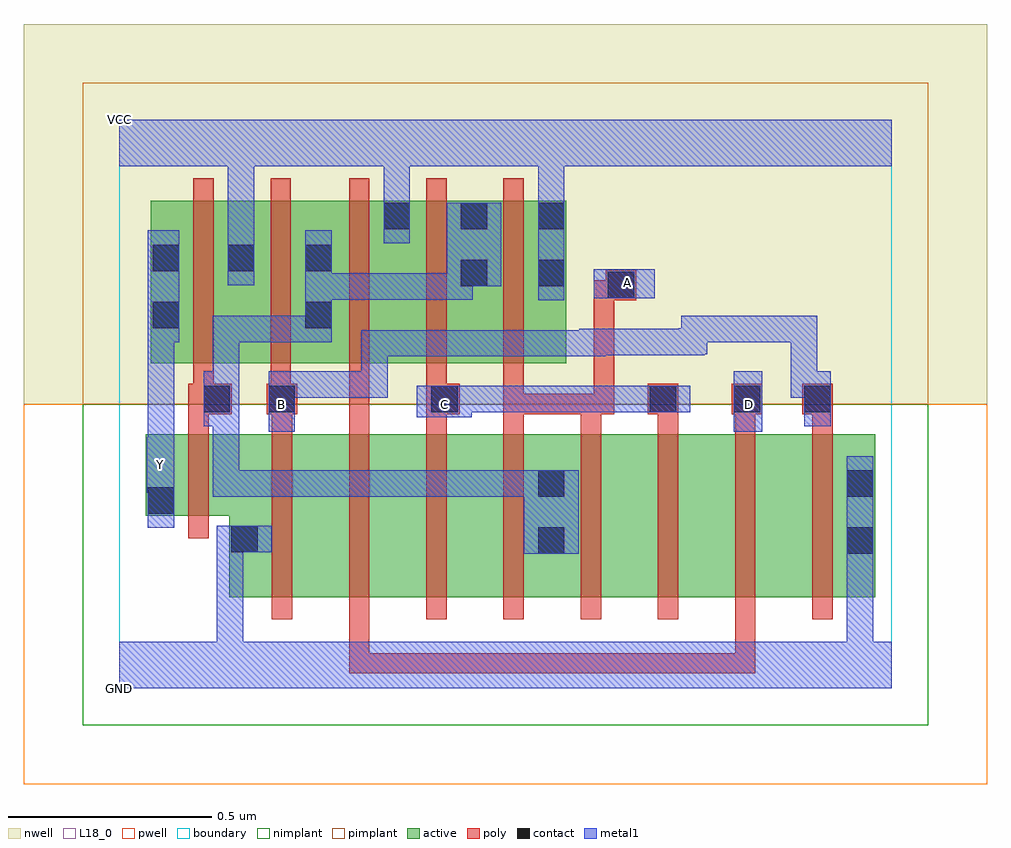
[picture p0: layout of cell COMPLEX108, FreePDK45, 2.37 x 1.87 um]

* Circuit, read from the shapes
.subckt COMPLEX108 A B C D GND VCC Y
M1 GND n1 Y VSUBS nfet w=0.2u l=0.05u
M2 n2 B GND VSUBS nfet w=0.4u l=0.05u
M3 n3 D n2 VSUBS nfet w=0.4u l=0.05u
M4 n4 C n3 VSUBS nfet w=0.4u l=0.05u
M5 n1 A n4 VSUBS nfet w=0.4u l=0.05u
M6 n5 A n1 VSUBS nfet w=0.4u l=0.05u
M7 n6 C n5 VSUBS nfet w=0.4u l=0.05u
M8 n7 D n6 VSUBS nfet w=0.4u l=0.05u
M9 GND B n7 VSUBS nfet w=0.4u l=0.05u
M10 VCC n1 Y n8 pfet w=0.4u l=0.05u
M11 n1 B VCC n8 pfet w=0.4u l=0.05u
M12 VCC D n1 n8 pfet w=0.4u l=0.05u
M13 n1 C VCC n8 pfet w=0.4u l=0.05u
M14 VCC A n1 n8 pfet w=0.4u l=0.05u
.ends

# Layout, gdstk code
import gdstk
lib = gdstk.Library(unit=1e-6, precision=1e-09)
def R(c, l, rs):  # rectangles x0, y0, x1, y1
    for r in rs: c.add(gdstk.rectangle(r[:2], r[2:], *l))
def A(c, l, x, y, w, h, nx, ny, dx, dy):  # array of equal rectangles
    R(c, l, [(x+i*dx, y+j*dy, x+i*dx+w, y+j*dy+h) for i in range(nx) for j in range(ny)])
active = (1, 0)
pwell = (2, 0)
nwell = (3, 0)
nimplant = (4, 0)
pimplant = (5, 0)
poly = (9, 0)
contact = (10, 0)
metal1 = (11, 0)
L18_0 = (18, 0)
boundary = (235, 0)

complex108 = lib.new_cell('COMPLEX108')
R(complex108, active, [(0.27,0.225,0.495,0.625), (0.27,0.225,0.345,0.597), (0.495,0.225,0.685,0.625), (0.685,0.225,0.875,0.625), (0.875,0.225,1.1,0.625), (1.025,0.225,1.255,0.625), (1.255,0.225,1.445,0.625), (1.445,0.225,1.635,0.625), (1.635,0.225,1.86,0.625), (1.025,0.245,1.1,0.617), (1.785,0.245,1.86,0.625), (0.065,0.425,0.345,0.625), (0.065,0.425,0.14,0.625), (0.077,0.8,0.152,1.155), (0.077,0.8,0.337,1.2), (0.262,0.8,0.527,1.2), (0.452,0.8,0.72,1.2), (0.452,0.8,0.527,1.155), (0.645,0.8,0.91,1.2), (0.835,0.8,1.1,1.2), (1.025,0.8,1.1,1.2), (0.262,0.802,0.337,1.155), (0.645,0.907,0.72,1.2), (0.835,0.907,0.91,1.2)])
R(complex108, pwell, [(-0.235,-0.235,2.135,0.7)])
R(complex108, nwell, [(-0.235,0.7,2.135,1.635)])
R(complex108, nimplant, [(-0.09,-0.09,1.99,0.7)])
R(complex108, pimplant, [(-0.09,0.7,1.99,1.49)])
A(complex108, poly, 0.375, 0.17, 0.05, 0.51, 8, 1, 0.19, 0)
A(complex108, poly, 0.375, 0.63, 0.05, 0.095, 8, 1, 0.19, 0)
A(complex108, poly, 0.565, 0.745, 0.05, 0.51, 3, 1, 0.19, 0)
R(complex108, poly, [(0.565,0.037,0.615,0.22), (0.565,0.037,0.615,0.087), (0.565,0.037,0.615,0.087), (0.565,0.037,0.615,0.087), (0.565,0.037,0.862,0.087), (0.812,0.037,0.862,0.087), (0.812,0.037,0.862,0.087), (0.812,0.037,0.862,0.087), (0.812,0.037,1.052,0.087), (1.002,0.037,1.052,0.087), (1.002,0.037,1.052,0.087), (1.002,0.037,1.052,0.087), (1.002,0.037,1.217,0.087), (1.167,0.037,1.217,0.087), (1.167,0.037,1.217,0.087), (1.167,0.037,1.217,0.087), (1.167,0.037,1.405,0.087), (1.355,0.037,1.565,0.087), (1.355,0.037,1.405,0.087), (1.355,0.037,1.405,0.087), (1.355,0.037,1.405,0.087), (1.515,0.037,1.565,0.22), (1.515,0.037,1.565,0.087), (0.17,0.37,0.22,0.68), (0.17,0.63,0.22,0.725), (0.17,0.675,0.277,0.75), (0.362,0.675,0.437,0.75), (0.565,0.675,0.615,0.725), (0.565,0.675,0.615,0.795), (0.755,0.675,0.837,0.75), (0.945,0.675,0.995,0.725), (0.945,0.675,0.995,0.725), (0.945,0.675,0.995,0.725), (0.945,0.675,1.185,0.725), (0.945,0.675,0.995,0.795), (1.135,0.675,1.217,0.725), (1.167,0.675,1.217,1.005), (1.3,0.675,1.375,0.75), (1.507,0.675,1.582,0.75), (1.68,0.675,1.755,0.75), (0.182,0.7,0.232,0.795), (0.372,0.7,0.422,0.795), (0.755,0.7,0.805,0.795), (0.182,0.745,0.232,1.255), (0.372,0.745,0.422,1.255), (1.167,0.955,1.247,1.005), (1.197,0.955,1.272,1.03), (1.197,0.955,1.247,1.005)])
A(complex108, contact, 0.65, 1.13, 0.065, 0.065, 3, 1, 0.19, 0)
R(complex108, contact, [(1.03,0.332,1.095,0.397), (1.79,0.332,1.855,0.397), (0.275,0.335,0.34,0.4), (0.07,0.43,0.135,0.495), (1.03,0.472,1.095,0.537), (1.79,0.472,1.855,0.537), (0.207,0.68,0.272,0.745), (0.367,0.68,0.432,0.745), (0.767,0.68,0.832,0.745), (1.305,0.68,1.37,0.745), (1.512,0.68,1.577,0.745), (1.685,0.68,1.75,0.745), (0.082,0.887,0.147,0.952), (0.457,0.887,0.522,0.952), (1.202,0.96,1.267,1.025), (0.84,0.99,0.905,1.055), (1.03,0.99,1.095,1.055), (0.082,1.027,0.147,1.092), (0.267,1.027,0.332,1.092), (0.457,1.027,0.522,1.092)])
R(complex108, metal1, [(0,0,1.9,0.115), (0.24,0.05,0.305,0.115), (0.24,0.05,0.305,0.115), (0.24,0.05,0.305,0.4), (1.79,0.05,1.855,0.362), (1.79,0.05,1.855,0.115), (1.79,0.05,1.855,0.115), (1.79,0.297,1.855,0.572), (0.995,0.332,1.13,0.537), (0.24,0.335,0.375,0.4), (0.07,0.395,0.135,0.53), (0.07,0.465,0.135,0.547), (0.23,0.472,0.295,0.537), (0.23,0.472,0.432,0.537), (0.23,0.472,0.295,0.71), (0.367,0.472,0.432,0.537), (0.367,0.472,0.432,0.537), (0.367,0.472,0.432,0.537), (0.367,0.472,0.66,0.537), (0.595,0.472,0.66,0.537), (0.595,0.472,0.66,0.537), (0.595,0.472,0.66,0.537), (0.595,0.472,0.797,0.537), (0.732,0.472,0.797,0.537), (0.732,0.472,0.797,0.537), (0.732,0.472,0.797,0.537), (0.732,0.472,1.06,0.537), (0.995,0.472,1.06,0.537), (0.995,0.472,1.06,0.537), (0.067,0.482,0.135,0.617), (0.07,0.552,0.135,0.917), (0.367,0.632,0.432,0.78), (1.512,0.632,1.582,0.78), (0.207,0.645,0.272,0.78), (0.207,0.645,0.295,0.71), (0.23,0.645,0.295,0.71), (0.23,0.645,0.295,0.917), (1.685,0.645,1.75,0.78), (0.732,0.667,0.867,0.745), (0.802,0.68,0.867,0.745), (0.802,0.68,0.867,0.745), (0.802,0.68,1.06,0.745), (0.995,0.68,1.06,0.745), (0.995,0.68,1.06,0.745), (0.995,0.68,1.06,0.745), (0.995,0.68,1.197,0.745), (1.132,0.68,1.197,0.745), (1.132,0.68,1.197,0.745), (1.132,0.68,1.197,0.745), (1.132,0.68,1.335,0.745), (1.27,0.68,1.405,0.745), (0.367,0.715,0.432,0.78), (0.367,0.715,0.432,0.78), (0.367,0.715,0.66,0.78), (0.595,0.715,0.66,0.78), (0.595,0.715,0.66,0.78), (0.595,0.715,0.66,0.78), (0.595,0.715,0.66,0.882), (1.652,0.715,1.717,0.78), (1.652,0.715,1.75,0.78), (1.652,0.715,1.717,0.917), (0.595,0.817,0.66,0.882), (0.595,0.817,0.797,0.882), (0.732,0.817,0.797,0.882), (0.732,0.817,0.797,0.882), (0.732,0.817,0.797,0.882), (0.732,0.817,1.007,0.882), (0.942,0.817,1.007,0.882), (0.942,0.817,1.007,0.882), (0.942,0.817,1.007,0.882), (0.942,0.817,1.197,0.882), (1.132,0.817,1.197,0.885), (1.132,0.82,1.197,0.885), (1.132,0.82,1.197,0.885), (1.132,0.82,1.44,0.885), (1.375,0.82,1.44,0.887), (1.375,0.822,1.447,0.887), (1.382,0.822,1.447,0.917), (0.07,0.852,0.147,1.127), (0.23,0.852,0.295,0.917), (0.23,0.852,0.522,0.917), (0.457,0.852,0.522,1.127), (0.457,0.852,0.522,0.917), (0.457,0.852,0.522,0.917), (1.382,0.852,1.612,0.917), (1.547,0.852,1.612,0.917), (1.547,0.852,1.717,0.917), (1.652,0.852,1.717,0.917), (1.03,0.955,1.095,1.23), (0.457,0.957,0.522,1.022), (0.457,0.957,0.66,1.022), (0.457,0.957,0.522,1.127), (0.595,0.957,0.66,1.022), (0.595,0.957,0.66,1.022), (0.595,0.957,0.66,1.022), (0.595,0.957,0.87,1.022), (0.805,0.957,0.87,1.055), (1.167,0.96,1.317,1.032), (0.805,0.99,0.87,1.055), (0.805,0.99,0.94,1.195), (0.267,0.992,0.332,1.127), (0.267,1.062,0.332,1.35), (0.65,1.095,0.715,1.23), (0.65,1.165,0.715,1.35), (1.03,1.165,1.095,1.35), (0,1.285,1.9,1.4)])
R(complex108, L18_0, [(0,0,1.9,0.115), (0.24,0.05,0.305,0.115), (0.24,0.05,0.305,0.115), (0.24,0.05,0.305,0.4), (1.79,0.05,1.855,0.115), (1.79,0.05,1.855,0.115), (1.79,0.05,1.855,0.362), (1.79,0.297,1.855,0.572), (0.24,0.335,0.375,0.4), (0.07,0.395,0.135,0.53), (0.07,0.465,0.135,0.547), (0.067,0.482,0.135,0.617), (0.067,0.517,0.132,0.582), (0.07,0.552,0.135,0.917), (0.367,0.632,0.432,0.78), (1.512,0.632,1.582,0.78), (1.685,0.645,1.75,0.78), (0.367,0.667,0.432,0.732), (0.732,0.667,0.867,0.745), (0.767,0.667,0.832,0.732), (1.517,0.667,1.582,0.732), (0.802,0.68,0.867,0.745), (0.802,0.68,0.867,0.745), (0.802,0.68,1.06,0.745), (0.995,0.68,1.06,0.745), (0.995,0.68,1.06,0.745), (0.995,0.68,1.06,0.745), (0.995,0.68,1.197,0.745), (1.132,0.68,1.197,0.745), (1.132,0.68,1.197,0.745), (1.132,0.68,1.197,0.745), (1.132,0.68,1.335,0.745), (1.27,0.68,1.405,0.745), (0.367,0.715,0.432,0.78), (0.367,0.715,0.432,0.78), (0.367,0.715,0.66,0.78), (0.595,0.715,0.66,0.78), (0.595,0.715,0.66,0.78), (0.595,0.715,0.66,0.78), (0.595,0.715,0.66,0.882), (1.652,0.715,1.717,0.78), (1.652,0.715,1.717,0.917), (1.652,0.715,1.75,0.78), (0.595,0.817,0.66,0.882), (0.595,0.817,0.797,0.882), (0.732,0.817,0.797,0.882), (0.732,0.817,0.797,0.882), (0.732,0.817,0.797,0.882), (0.732,0.817,1.007,0.882), (0.942,0.817,1.007,0.882), (0.942,0.817,1.007,0.882), (0.942,0.817,1.007,0.882), (0.942,0.817,1.197,0.882), (1.132,0.817,1.197,0.885), (1.132,0.82,1.197,0.885), (1.132,0.82,1.197,0.885), (1.132,0.82,1.44,0.885), (1.375,0.82,1.44,0.887), (1.375,0.822,1.447,0.887), (1.382,0.822,1.447,0.917), (0.07,0.852,0.147,1.127), (1.382,0.852,1.612,0.917), (1.547,0.852,1.612,0.917), (1.547,0.852,1.717,0.917), (1.652,0.852,1.717,0.917), (1.03,0.955,1.095,1.23), (1.167,0.96,1.317,1.032), (1.217,0.967,1.282,1.032), (0.267,0.992,0.332,1.127), (0.267,1.062,0.332,1.35), (0.65,1.095,0.715,1.23), (0.65,1.165,0.715,1.35), (1.03,1.165,1.095,1.35), (0,1.285,1.9,1.4)])
R(complex108, boundary, [(0,0,1.9,1.4)])
complex108.add(gdstk.Label('A', (1.25,1), layer=11, texttype=0))
complex108.add(gdstk.Label('B', (0.4,0.7), layer=11, texttype=0))
complex108.add(gdstk.Label('C', (0.8,0.7), layer=11, texttype=0))
complex108.add(gdstk.Label('D', (1.55,0.7), layer=11, texttype=0))
complex108.add(gdstk.Label('Y', (0.1,0.55), layer=11, texttype=0))
complex108.add(gdstk.Label('VCC', (0,1.4), layer=11, texttype=0))
complex108.add(gdstk.Label('GND', (0,0), layer=11, texttype=0))

lib.write_gds('COMPLEX108.gds')
